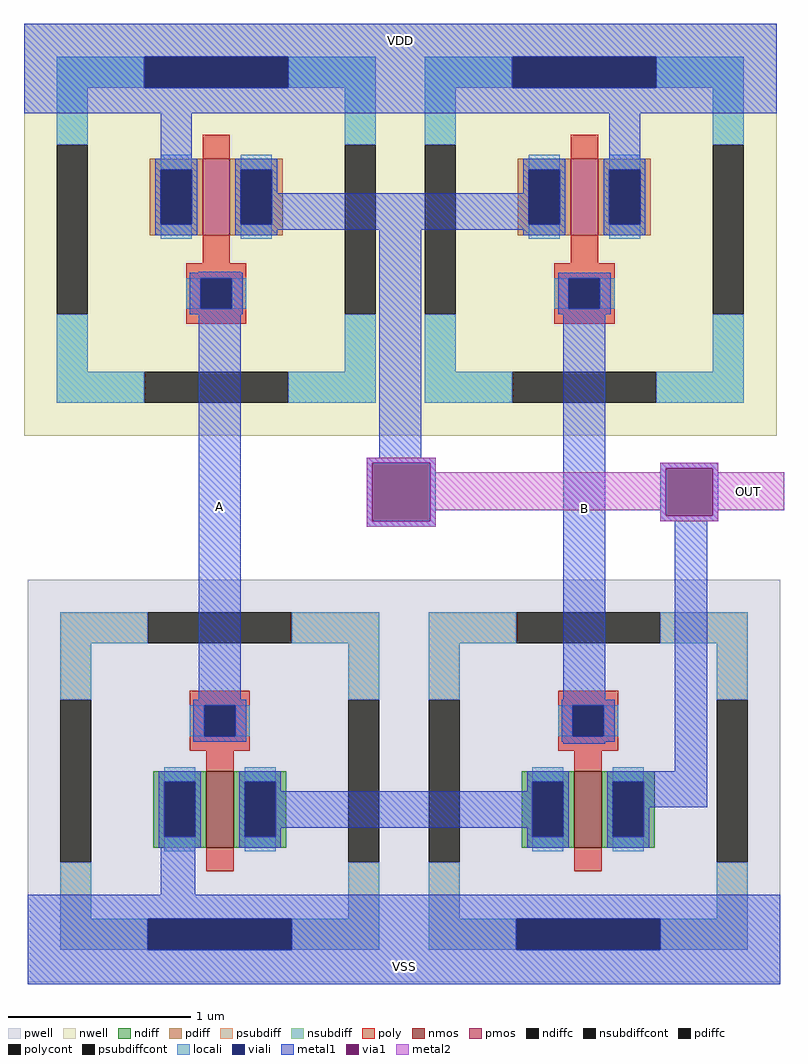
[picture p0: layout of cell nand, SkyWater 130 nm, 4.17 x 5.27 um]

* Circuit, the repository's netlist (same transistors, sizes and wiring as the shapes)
* SPICE3 file created from nand.ext - technology: sky130A

*.subckt nand OUT VDD VSS
X0 OUT m1_1070_58# m1_726_n34# VSS sky130_fd_pr__nfet_01v8 ad=0.122 pd=1.42 as=0.122 ps=1.42 w=0.42 l=0.15
X1 OUT m1_1070_58# VDD VDD sky130_fd_pr__pfet_01v8 ad=0.122 pd=1.42 as=0.122 ps=1.42 w=0.42 l=0.15
X2 m1_726_n34# m1_670_62# VSS VSS sky130_fd_pr__nfet_01v8 ad=0.244 pd=2.84 as=0.122 ps=1.42 w=0.42 l=0.15
X3 OUT m1_670_62# VDD VDD sky130_fd_pr__pfet_01v8 ad=0.244 pd=2.84 as=0.244 ps=2.84 w=0.42 l=0.15
*.ends

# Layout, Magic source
magic
tech sky130A
magscale 1 2
<< nwell >>
rect 478 396 1304 848
<< pwell >>
rect 482 -204 1308 238
<< nmos >>
rect 678 -56 708 28
rect 1082 -56 1112 28
<< pmos >>
rect 674 616 704 700
rect 1078 616 1108 700
<< ndiff >>
rect 620 16 678 28
rect 620 -44 632 16
rect 666 -44 678 16
rect 620 -56 678 -44
rect 708 16 766 28
rect 708 -44 720 16
rect 754 -44 766 16
rect 708 -56 766 -44
rect 1024 16 1082 28
rect 1024 -44 1036 16
rect 1070 -44 1082 16
rect 1024 -56 1082 -44
rect 1112 16 1170 28
rect 1112 -44 1124 16
rect 1158 -44 1170 16
rect 1112 -56 1170 -44
<< pdiff >>
rect 616 688 674 700
rect 616 628 628 688
rect 662 628 674 688
rect 616 616 674 628
rect 704 688 762 700
rect 704 628 716 688
rect 750 628 762 688
rect 704 616 762 628
rect 1020 688 1078 700
rect 1020 628 1032 688
rect 1066 628 1078 688
rect 1020 616 1078 628
rect 1108 688 1166 700
rect 1108 628 1120 688
rect 1154 628 1166 688
rect 1108 616 1166 628
<< ndiffc >>
rect 632 -44 666 16
rect 720 -44 754 16
rect 1036 -44 1070 16
rect 1124 -44 1158 16
<< pdiffc >>
rect 628 628 662 688
rect 716 628 750 688
rect 1032 628 1066 688
rect 1120 628 1154 688
<< psubdiff >>
rect 518 168 614 202
rect 772 168 868 202
rect 518 106 552 168
rect 834 106 868 168
rect 518 -134 552 -72
rect 834 -134 868 -72
rect 518 -168 614 -134
rect 772 -168 868 -134
rect 922 168 1018 202
rect 1176 168 1272 202
rect 922 106 956 168
rect 1238 106 1272 168
rect 922 -134 956 -72
rect 1238 -134 1272 -72
rect 922 -168 1018 -134
rect 1176 -168 1272 -134
<< nsubdiff >>
rect 514 778 610 812
rect 768 778 864 812
rect 514 715 548 778
rect 830 715 864 778
rect 514 466 548 529
rect 830 466 864 529
rect 514 432 610 466
rect 768 432 864 466
rect 918 778 1014 812
rect 1172 778 1268 812
rect 918 715 952 778
rect 1234 715 1268 778
rect 918 466 952 529
rect 1234 466 1268 529
rect 918 432 1014 466
rect 1172 432 1268 466
<< psubdiffcont >>
rect 614 168 772 202
rect 518 -72 552 106
rect 834 -72 868 106
rect 614 -168 772 -134
rect 1018 168 1176 202
rect 922 -72 956 106
rect 1238 -72 1272 106
rect 1018 -168 1176 -134
<< nsubdiffcont >>
rect 610 778 768 812
rect 514 529 548 715
rect 830 529 864 715
rect 610 432 768 466
rect 1014 778 1172 812
rect 918 529 952 715
rect 1234 529 1268 715
rect 1014 432 1172 466
<< poly >>
rect 674 700 704 726
rect 674 585 704 616
rect 656 569 722 585
rect 656 535 672 569
rect 706 535 722 569
rect 656 519 722 535
rect 1078 700 1108 726
rect 1078 585 1108 616
rect 1060 569 1126 585
rect 1060 535 1076 569
rect 1110 535 1126 569
rect 1060 519 1126 535
rect 660 100 726 116
rect 660 66 676 100
rect 710 66 726 100
rect 660 50 726 66
rect 678 28 708 50
rect 678 -82 708 -56
rect 1064 100 1130 116
rect 1064 66 1080 100
rect 1114 66 1130 100
rect 1064 50 1130 66
rect 1082 28 1112 50
rect 1082 -82 1112 -56
<< polycont >>
rect 672 535 706 569
rect 1076 535 1110 569
rect 676 66 710 100
rect 1080 66 1114 100
<< locali >>
rect 514 778 610 812
rect 768 778 864 812
rect 514 715 548 778
rect 830 715 864 778
rect 628 688 662 704
rect 628 612 662 628
rect 716 688 750 704
rect 716 612 750 628
rect 656 535 672 569
rect 706 535 722 569
rect 514 466 548 529
rect 830 466 864 529
rect 514 432 610 466
rect 768 432 864 466
rect 918 778 1014 812
rect 1172 778 1268 812
rect 918 715 952 778
rect 1234 715 1268 778
rect 1032 688 1066 704
rect 1032 612 1066 628
rect 1120 688 1154 704
rect 1120 612 1154 628
rect 1060 535 1076 569
rect 1110 535 1126 569
rect 918 466 952 529
rect 1234 466 1268 529
rect 918 432 1014 466
rect 1172 432 1268 466
rect 518 168 614 202
rect 772 168 868 202
rect 518 106 552 168
rect 834 106 868 168
rect 660 66 676 100
rect 710 66 726 100
rect 632 16 666 32
rect 632 -60 666 -44
rect 720 16 754 32
rect 720 -60 754 -44
rect 518 -134 552 -72
rect 834 -134 868 -72
rect 518 -168 614 -134
rect 772 -168 868 -134
rect 922 168 1018 202
rect 1176 168 1272 202
rect 922 106 956 168
rect 1238 106 1272 168
rect 1064 66 1080 100
rect 1114 66 1130 100
rect 1036 16 1070 32
rect 1036 -60 1070 -44
rect 1124 16 1158 32
rect 1124 -60 1158 -44
rect 922 -134 956 -72
rect 1238 -134 1272 -72
rect 922 -168 1018 -134
rect 1176 -168 1272 -134
<< viali >>
rect 610 778 768 812
rect 628 628 662 688
rect 716 628 750 688
rect 672 535 706 569
rect 1014 778 1172 812
rect 1032 628 1066 688
rect 1120 628 1154 688
rect 1076 535 1110 569
rect 676 66 710 100
rect 632 -44 666 16
rect 720 -44 754 16
rect 614 -168 772 -134
rect 1080 66 1114 100
rect 1036 -44 1070 16
rect 1124 -44 1158 16
rect 1018 -168 1176 -134
<< metal1 >>
rect 478 812 1304 848
rect 478 778 610 812
rect 768 778 1014 812
rect 1172 778 1304 812
rect 478 750 1304 778
rect 628 700 662 750
rect 1120 700 1154 750
rect 622 688 668 700
rect 622 628 628 688
rect 662 628 668 688
rect 622 616 668 628
rect 710 688 756 700
rect 710 628 716 688
rect 750 662 756 688
rect 1026 688 1072 700
rect 1026 662 1032 688
rect 750 628 1032 662
rect 1066 628 1072 688
rect 710 622 1072 628
rect 710 616 756 622
rect 670 575 716 576
rect 660 569 718 575
rect 660 535 672 569
rect 706 535 718 569
rect 660 529 718 535
rect 670 106 716 529
rect 868 372 914 622
rect 1026 616 1072 622
rect 1114 688 1160 700
rect 1114 628 1120 688
rect 1154 628 1160 688
rect 1114 616 1160 628
rect 1064 569 1122 575
rect 1064 535 1076 569
rect 1110 535 1122 569
rect 1064 529 1122 535
rect 854 366 930 372
rect 854 302 860 366
rect 924 302 930 366
rect 854 296 930 302
rect 1070 106 1116 529
rect 1176 360 1240 366
rect 1176 308 1182 360
rect 1234 308 1240 360
rect 1176 302 1240 308
rect 664 100 722 106
rect 664 66 676 100
rect 710 66 722 100
rect 664 60 722 66
rect 1068 100 1126 106
rect 1068 66 1080 100
rect 1114 66 1126 100
rect 1068 60 1126 66
rect 1070 58 1116 60
rect 1192 28 1228 302
rect 626 16 672 28
rect 626 -44 632 16
rect 666 -44 672 16
rect 626 -56 672 -44
rect 714 16 760 28
rect 714 -44 720 16
rect 754 6 760 16
rect 1030 16 1076 28
rect 1030 6 1036 16
rect 754 -34 1036 6
rect 754 -44 760 -34
rect 714 -56 760 -44
rect 1030 -44 1036 -34
rect 1070 -44 1076 16
rect 1030 -56 1076 -44
rect 1118 16 1228 28
rect 1118 -44 1124 16
rect 1158 -12 1228 16
rect 1158 -44 1164 -12
rect 1118 -56 1164 -44
rect 628 -108 666 -56
rect 482 -134 1308 -108
rect 482 -168 614 -134
rect 772 -168 1018 -134
rect 1176 -168 1308 -134
rect 482 -206 1308 -168
<< via1 >>
rect 860 302 924 366
rect 1182 308 1234 360
<< metal2 >>
rect 854 366 930 372
rect 854 302 860 366
rect 924 356 930 366
rect 1176 360 1240 366
rect 1176 356 1182 360
rect 924 314 1182 356
rect 924 302 930 314
rect 1176 308 1182 314
rect 1234 356 1240 360
rect 1234 314 1312 356
rect 1234 308 1240 314
rect 1176 302 1240 308
rect 854 296 930 302
<< labels >>
flabel space 670 60 716 576 0 FreeSans 160 0 0 0 A
port 0 nsew
flabel space 1070 58 1116 575 0 FreeSans 160 0 0 0 B
port 1 nsew
flabel metal2 1234 314 1312 356 0 FreeSans 160 0 0 0 OUT
port 2 nsew
flabel metal1 478 812 1304 848 0 FreeSans 160 0 0 0 VDD
port 3 nsew
flabel metal1 482 -206 1308 -168 0 FreeSans 160 0 0 0 VSS
port 5 nsew
<< end >>
